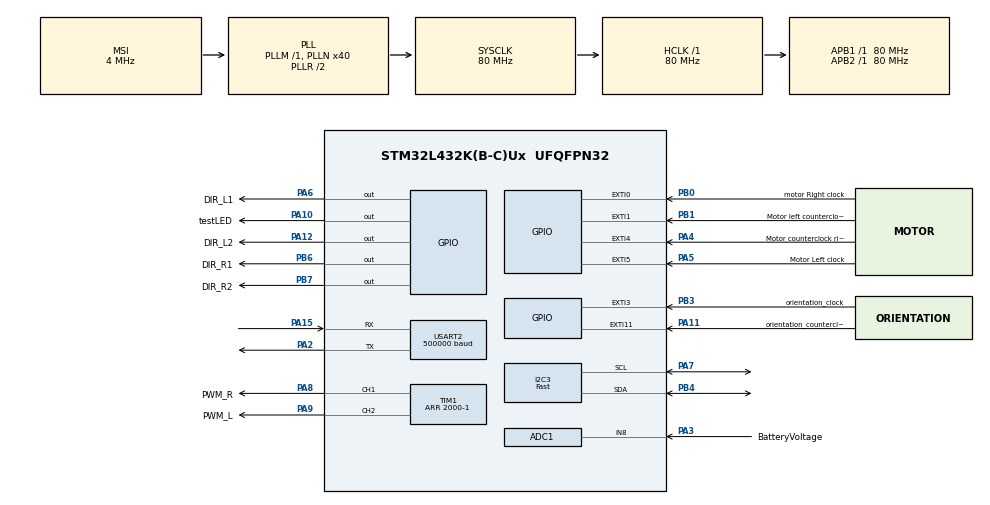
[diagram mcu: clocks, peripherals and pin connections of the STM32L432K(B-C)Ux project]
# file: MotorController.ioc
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ADC1.Channel-0\#ChannelRegularConversion=ADC_CHANNEL_8
ADC1.NbrOfConversionFlag=1
ADC1.OffsetNumber-0\#ChannelRegularConversion=ADC_OFFSET_NONE
ADC1.Rank-0\#ChannelRegularConversion=1
ADC1.SamplingTime-0\#ChannelRegularConversion=ADC_SAMPLETIME_2CYCLES_5
ADC1.master=1
Dma.Request0=USART2_RX
Dma.Request1=USART2_TX
Dma.USART2_RX.0.Direction=DMA_PERIPH_TO_MEMORY
Dma.USART2_RX.0.Instance=DMA1_Channel6
Dma.USART2_RX.0.MemDataAlignment=DMA_MDATAALIGN_BYTE
Dma.USART2_RX.0.MemInc=DMA_MINC_ENABLE
Dma.USART2_RX.0.Mode=DMA_CIRCULAR
Dma.USART2_RX.0.PeriphDataAlignment=DMA_PDATAALIGN_BYTE
Dma.USART2_RX.0.PeriphInc=DMA_PINC_DISABLE
Dma.USART2_RX.0.Priority=DMA_PRIORITY_LOW
Dma.USART2_TX.1.Direction=DMA_MEMORY_TO_PERIPH
Dma.USART2_TX.1.Instance=DMA1_Channel7
Dma.USART2_TX.1.MemDataAlignment=DMA_MDATAALIGN_BYTE
Dma.USART2_TX.1.MemInc=DMA_MINC_ENABLE
Dma.USART2_TX.1.Mode=DMA_NORMAL
Dma.USART2_TX.1.PeriphDataAlignment=DMA_PDATAALIGN_BYTE
Dma.USART2_TX.1.PeriphInc=DMA_PINC_DISABLE
Dma.USART2_TX.1.Priority=DMA_PRIORITY_LOW
I2C3.I2C_Speed_Mode=I2C_Fast
I2C3.Timing=0x00702991
Mcu.Family=STM32L4
Mcu.Name=STM32L432K(B-C)Ux
Mcu.Package=UFQFPN32
NVIC.DMA1_Channel6_IRQn=true\:0\:0\:false\:false\:true\:false\:true
NVIC.DMA1_Channel7_IRQn=true\:0\:0\:false\:false\:true\:false\:true
NVIC.EXTI0_IRQn=true\:0\:0\:true\:false\:true\:true\:true
NVIC.EXTI15_10_IRQn=true\:0\:0\:true\:false\:true\:true\:true
NVIC.EXTI1_IRQn=true\:0\:0\:true\:false\:true\:true\:true
NVIC.EXTI3_IRQn=true\:0\:0\:true\:false\:true\:true\:true
NVIC.EXTI4_IRQn=true\:0\:0\:true\:false\:true\:true\:true
NVIC.EXTI9_5_IRQn=true\:0\:0\:true\:false\:true\:true\:true
NVIC.I2C3_ER_IRQn=true\:0\:0\:false\:false\:true\:true\:true
NVIC.I2C3_EV_IRQn=true\:0\:0\:false\:false\:true\:true\:true
NVIC.PriorityGroup=NVIC_PRIORITYGROUP_4
NVIC.TIM2_IRQn=true\:0\:0\:false\:false\:true\:true\:true
NVIC.TIM6_DAC_IRQn=true\:0\:0\:false\:false\:true\:true\:true
NVIC.TIM7_IRQn=true\:0\:0\:true\:false\:true\:true\:true
NVIC.USART2_IRQn=true\:0\:0\:false\:false\:true\:true\:true
PA0.Mode=HSE-External-Clock-Source-for-LittleOrca
PA0.Signal=RCC_CK_IN
PA10.GPIO_Label=testLED
PA10.Signal=GPIO_Output
PA11.GPIO_Label=orientation_counterclock
PA11.GPIO_ModeDefaultEXTI=GPIO_MODE_IT_RISING_FALLING
PA11.GPIO_PuPd=GPIO_PULLDOWN
PA11.Signal=GPXTI11
PA12.GPIO_Label=DIR_L2
PA12.Signal=GPIO_Output
PA13\ (JTMS-SWDIO).Mode=Serial_Wire
PA13\ (JTMS-SWDIO).Signal=SYS_JTMS-SWDIO
PA14\ (JTCK-SWCLK).Mode=Serial_Wire
PA14\ (JTCK-SWCLK).Signal=SYS_JTCK-SWCLK
PA15\ (JTDI).Mode=Asynchronous
PA15\ (JTDI).Signal=USART2_RX
PA2.Mode=Asynchronous
PA2.Signal=USART2_TX
PA3.GPIO_Label=BatteryVoltage
PA3.Signal=ADCx_IN8
PA4.GPIO_Label=Motor counterclock right
PA4.GPIO_ModeDefaultEXTI=GPIO_MODE_IT_RISING_FALLING
PA4.GPIO_PuPd=GPIO_PULLDOWN
PA4.Signal=GPXTI4
PA5.GPIO_Label=Motor Left clock
PA5.GPIO_ModeDefaultEXTI=GPIO_MODE_IT_RISING_FALLING
PA5.GPIO_PuPd=GPIO_PULLDOWN
PA5.Signal=GPXTI5
PA6.GPIO_Label=DIR_L1
PA6.Signal=GPIO_Output
PA7.Mode=I2C
PA7.Signal=I2C3_SCL
PA8.GPIO_Label=PWM_R
PA8.Signal=S_TIM1_CH1
PA9.GPIO_Label=PWM_L
PA9.Signal=S_TIM1_CH2
PB0.GPIO_Label=motor Right clock
PB0.GPIO_ModeDefaultEXTI=GPIO_MODE_IT_RISING_FALLING
PB0.GPIO_PuPd=GPIO_PULLDOWN
PB0.Signal=GPXTI0
PB1.GPIO_Label=Motor left counterclock
PB1.GPIO_ModeDefaultEXTI=GPIO_MODE_IT_RISING_FALLING
PB1.GPIO_PuPd=GPIO_PULLDOWN
PB1.Signal=GPXTI1
PB3\ (JTDO-TRACESWO).GPIO_Label=orientation_clock
PB3\ (JTDO-TRACESWO).GPIO_ModeDefaultEXTI=GPIO_MODE_IT_RISING_FALLING
PB3\ (JTDO-TRACESWO).GPIO_PuPd=GPIO_PULLDOWN
PB3\ (JTDO-TRACESWO).Signal=GPXTI3
PB4\ (NJTRST).Mode=I2C
PB4\ (NJTRST).Signal=I2C3_SDA
PB6.GPIO_Label=DIR_R1
PB6.Signal=GPIO_Output
PB7.GPIO_Label=DIR_R2
PB7.Signal=GPIO_Output
ProjectManager.HeapSize=0x200
ProjectManager.StackSize=0x400
ProjectManager.TargetToolchain=STM32CubeIDE
RCC.ADCFreq_Value=8000000
RCC.AHBFreq_Value=80000000
RCC.APB1Freq_Value=80000000
RCC.APB1TimFreq_Value=80000000
RCC.APB2Freq_Value=80000000
RCC.APB2TimFreq_Value=80000000
RCC.CortexFreq_Value=80000000
RCC.HCLKFreq_Value=80000000
RCC.HSE_VALUE=8000000
RCC.HSI48_VALUE=48000000
RCC.HSI_VALUE=16000000
RCC.LSE_VALUE=32768
RCC.MSI_VALUE=4000000
RCC.PLLN=40
RCC.PLLSAI1N=16
RCC.PLLSAI1R=RCC_PLLR_DIV8
RCC.SYSCLKFreq_VALUE=80000000
RCC.SYSCLKSource=RCC_SYSCLKSOURCE_PLLCLK
RCC.USBFreq_Value=32000000
RCC.VCOOutputFreq_Value=160000000
SH.ADCx_IN8.0=ADC1_IN8,IN8-Single-Ended
SH.S_TIM1_CH1.0=TIM1_CH1,PWM Generation1 CH1
SH.S_TIM1_CH2.0=TIM1_CH2,PWM Generation2 CH2
TIM1.AutoReloadPreload=TIM_AUTORELOAD_PRELOAD_ENABLE
TIM1.Channel-PWM\ Generation1\ CH1=TIM_CHANNEL_1
TIM1.Channel-PWM\ Generation2\ CH2=TIM_CHANNEL_2
TIM1.Period=2000-1
TIM2.AutoReloadPreload=TIM_AUTORELOAD_PRELOAD_ENABLE
TIM2.Channel-Output\ Compare2\ No\ Output=TIM_CHANNEL_2
TIM2.Period=10000-1
TIM2.Prescaler=80-1
TIM6.AutoReloadPreload=TIM_AUTORELOAD_PRELOAD_ENABLE
TIM6.Period=50000-1
TIM6.Prescaler=160-1
TIM7.AutoReloadPreload=TIM_AUTORELOAD_PRELOAD_ENABLE
TIM7.Period=12207-1
TIM7.Prescaler=65535
USART2.BaudRate=500000
USART2.VirtualMode-Asynchronous=VM_ASYNC
VP_TIM2_VS_no_output2.Mode=Output Compare2 No Output
VP_TIM6_VS_ClockSourceINT.Mode=Enable_Timer
VP_TIM7_VS_ClockSourceINT.Mode=Enable_Timer
board=custom

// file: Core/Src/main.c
/* USER CODE BEGIN Header */
/**
 ******************************************************************************
 * @file           : main.c
 * @brief          : Main program body
 ******************************************************************************
 * @attention
 *
 * <h2><center>&copy; Copyright (c) 2021 STMicroelectronics.
 * All rights reserved.</center></h2>
 *
 * This software component is licensed by ST under BSD 3-Clause license,
 * the "License"; You may not use this file except in compliance with the
 * License. You may obtain a copy of the License at:
 *                        opensource.org/licenses/BSD-3-Clause
 *
 ******************************************************************************
 */
/* USER CODE END Header */
#include "main.h"

/* USER CODE BEGIN Includes */

#include "circle_queue_Vector3.h"

/* USER CODE END Includes */

/* USER CODE BEGIN PD */

#define RIGHT_MOTOR_CHANNEL TIM_CHANNEL_1
#define LEFT_MOTOR_CHANNEL TIM_CHANNEL_2

/* USER CODE END PD */

ADC_HandleTypeDef hadc1;

I2C_HandleTypeDef hi2c3;

TIM_HandleTypeDef htim1;
TIM_HandleTypeDef htim2;
TIM_HandleTypeDef htim6;
TIM_HandleTypeDef htim7;

UART_HandleTypeDef huart2;
DMA_HandleTypeDef hdma_usart2_rx;
DMA_HandleTypeDef hdma_usart2_tx;

/* USER CODE BEGIN PV */
char uart_rxbuffer[UART_IN_BUF_SIZE] = { 0 };
UartCommHandler rxHandler;

char uart_txbuffer[UART_IN_BUF_SIZE] = { 0 };
UartCommHandler txHandler;

float batteryVoltage = 0.0;
float voltageMeasScaling = (3.47 / (4096)) * (1 + 2.63); // Voltage divider ratio - Reference voltage was found experimentally
bool control_cmds_en = false;

float spamCheckY = 0.;
float spamCheckX = 0.;

float spamCheckPhi = 0.0;
char packedMotorData[50] = { 0 };

float posX = 0.0;
float posXPrev = 0.0;
float posY = 0.0;
float posYPrev = 0.0;
float posPhi = 0.0;
float posPhiPrev = 0.0;
float velX = 0.0;
float velY = 0.0;
float velocity = 0.0;
float velPhi = 0.0;
uint8_t position[24] = { 0 };

extern float orientAngle;

uint8_t MOTORID = 2;

float positionCalculationPeriod;
float controllerPeriod;

// IMU variables
Vector3Queue *measQueue;

typedef struct {
	uint32_t time;
	float speed;
	Vector3 entry;
} IMU_MeasEntry;

uint32_t imu_meas_index = 0;
IMU_MeasEntry imu_meas_arr[IMU_MEAS_AMOUNT] = { 0 };

extern void (*accel_capt_callb)(Vector3*), (*gyro_capt_callb)(Vector3*);
void (**imu_capture_callb)(Vector3*);

// Motor structs

Motor motorR;
MotorEncoder encoderR;
MotorController controllerR;

Motor motorL;
MotorEncoder encoderL;
MotorController controllerL;

uint32_t ticks = 0;
uint32_t ticks_ms = 0;
uint32_t laps_c = 0;

/* USER CODE END PV */

void SystemClock_Config(void);
static void MX_GPIO_Init(void);
static void MX_DMA_Init(void);
static void MX_TIM1_Init(void);
static void MX_TIM6_Init(void);
static void MX_USART2_UART_Init(void);
static void MX_ADC1_Init(void);
static void MX_TIM7_Init(void);
static void MX_TIM2_Init(void);
static void MX_I2C3_Init(void);
/* USER CODE BEGIN PFP */

float LP_filter(float x_old2, float x_old1, float x, float y_old3, float y_old2,
		float y_old1);
int8_t samples_equivalence_test(float *a, float *b, uint32_t len,
		float tolerance);
int8_t IMU_LP_Filter_test(double signal_freq, double sample_freq,
		float *comp_seq, Vector3Queue *rawQueue, Vector3Queue *filtQueue);

void packThe6Floats();
void uart_in_handle(char*, uint32_t, uint8_t);
int8_t uart_in_handle_reset(char*, uint32_t);
int8_t uart_in_handle_reference(char*, uint32_t);
int8_t uart_transmit_VectorXY(uint8_t frameid, Vector3 data);
int8_t InitialCalibration();
void MainLoop();
void IMU_StartMeasurements(void (**capture_callb)(Vector3*), bool rotate,
		float movePeriod, float wheelSpeed, uint8_t moveRepetitions);
void MainLoopWaitMicros(uint32_t wait_us);
void MainLoopWaitMillis(uint32_t wait_ms);

/* USER CODE END PFP */

/* USER CODE BEGIN 0 */

int main(void) {

	/* MCU Configuration--------------------------------------------------------*/

	/* Reset of all peripherals, Initializes the Flash interface and the Systick. */
	HAL_Init();

	/* Configure the system clock */
	SystemClock_Config();

	/* Initialize all configured peripherals */
	MX_GPIO_Init();
	MX_DMA_Init();
	MX_TIM1_Init();
	MX_TIM6_Init();
	MX_USART2_UART_Init();
	MX_ADC1_Init();
	MX_TIM7_Init();
	MX_TIM2_Init();
	MX_I2C3_Init();
	/* USER CODE BEGIN 2 */

	positionCalculationPeriod = ((htim6.Instance->ARR + 1)
			/ (80000000.0 / (htim6.Instance->PSC + 1)));
	controllerPeriod = ((htim2.Instance->ARR + 1)
			/ (80000000.0 / (htim2.Instance->PSC + 1)));

	HAL_ADCEx_Calibration_Start(&hadc1, ADC_SINGLE_ENDED);

	uart_init();
	IMU_init();

	reset_odometry();

	if (!micros_init(&htim2, HAL_RCC_GetPCLK1Freq()))
		Error_Handler();

	HAL_TIM_Base_Start_IT(&htim2);
	HAL_TIM_Base_Start_IT(&htim6);
	HAL_TIM_Base_Start_IT(&htim7);
	HAL_TIM_PWM_Start(&htim1, TIM_CHANNEL_1);
	HAL_TIM_PWM_Start(&htim1, TIM_CHANNEL_2);

	/* USER CODE END 2 */

	/* Infinite loop */
	/* USER CODE BEGIN WHILE */

	InitialCalibration();

	while (1) {
		MainLoop();

		/* USER CODE END WHILE */

	}
}

void SystemClock_Config(void) {
	RCC_OscInitTypeDef RCC_OscInitStruct = { 0 };
	RCC_ClkInitTypeDef RCC_ClkInitStruct = { 0 };

	/** Configure the main internal regulator output voltage
	 */
	if (HAL_PWREx_ControlVoltageScaling(PWR_REGULATOR_VOLTAGE_SCALE1)
			!= HAL_OK) {
		Error_Handler();
	}
	/** Initializes the RCC Oscillators according to the specified parameters
	 * in the RCC_OscInitTypeDef structure.
	 */
	RCC_OscInitStruct.OscillatorType = RCC_OSCILLATORTYPE_MSI;
	RCC_OscInitStruct.MSIState = RCC_MSI_ON;
	RCC_OscInitStruct.MSICalibrationValue = 0;
	RCC_OscInitStruct.MSIClockRange = RCC_MSIRANGE_6;
	RCC_OscInitStruct.PLL.PLLState = RCC_PLL_ON;
	RCC_OscInitStruct.PLL.PLLSource = RCC_PLLSOURCE_MSI;
	RCC_OscInitStruct.PLL.PLLM = 1;
	RCC_OscInitStruct.PLL.PLLN = 40;
	RCC_OscInitStruct.PLL.PLLP = RCC_PLLP_DIV7;
	RCC_OscInitStruct.PLL.PLLQ = RCC_PLLQ_DIV2;
	RCC_OscInitStruct.PLL.PLLR = RCC_PLLR_DIV2;
	if (HAL_RCC_OscConfig(&RCC_OscInitStruct) != HAL_OK) {
		Error_Handler();
	}
	/** Initializes the CPU, AHB and APB buses clocks
	 */
	RCC_ClkInitStruct.ClockType = RCC_CLOCKTYPE_HCLK | RCC_CLOCKTYPE_SYSCLK
			| RCC_CLOCKTYPE_PCLK1 | RCC_CLOCKTYPE_PCLK2;
	RCC_ClkInitStruct.SYSCLKSource = RCC_SYSCLKSOURCE_PLLCLK;
	RCC_ClkInitStruct.AHBCLKDivider = RCC_SYSCLK_DIV1;
	RCC_ClkInitStruct.APB1CLKDivider = RCC_HCLK_DIV1;
	RCC_ClkInitStruct.APB2CLKDivider = RCC_HCLK_DIV1;

	if (HAL_RCC_ClockConfig(&RCC_ClkInitStruct, FLASH_LATENCY_4) != HAL_OK) {
		Error_Handler();
	}
}

static void MX_ADC1_Init(void) {

	ADC_ChannelConfTypeDef sConfig = { 0 };

	/** Common config
	 */
	hadc1.Instance = ADC1;
	hadc1.Init.ClockPrescaler = ADC_CLOCK_ASYNC_DIV1;
	hadc1.Init.Resolution = ADC_RESOLUTION_12B;
	hadc1.Init.DataAlign = ADC_DATAALIGN_RIGHT;
	hadc1.Init.ScanConvMode = ADC_SCAN_DISABLE;
	hadc1.Init.EOCSelection = ADC_EOC_SINGLE_CONV;
	hadc1.Init.LowPowerAutoWait = DISABLE;
	hadc1.Init.ContinuousConvMode = DISABLE;
	hadc1.Init.NbrOfConversion = 1;
	hadc1.Init.DiscontinuousConvMode = DISABLE;
	hadc1.Init.ExternalTrigConv = ADC_SOFTWARE_START;
	hadc1.Init.ExternalTrigConvEdge = ADC_EXTERNALTRIGCONVEDGE_NONE;
	hadc1.Init.DMAContinuousRequests = DISABLE;
	hadc1.Init.Overrun = ADC_OVR_DATA_PRESERVED;
	hadc1.Init.OversamplingMode = DISABLE;
	if (HAL_ADC_Init(&hadc1) != HAL_OK) {
		Error_Handler();
	}
	/** Configure Regular Channel
	 */
	sConfig.Channel = ADC_CHANNEL_8;
	sConfig.Rank = ADC_REGULAR_RANK_1;
	sConfig.SamplingTime = ADC_SAMPLETIME_2CYCLES_5;
	sConfig.SingleDiff = ADC_SINGLE_ENDED;
	sConfig.OffsetNumber = ADC_OFFSET_NONE;
	sConfig.Offset = 0;
	if (HAL_ADC_ConfigChannel(&hadc1, &sConfig) != HAL_OK) {
		Error_Handler();
	}
	/* USER CODE BEGIN ADC1_Init 2 */
	__HAL_RCC_ADC_CLK_ENABLE();
	/* USER CODE END ADC1_Init 2 */

}

static void MX_I2C3_Init(void) {

	hi2c3.Instance = I2C3;
	hi2c3.Init.Timing = 0x00702991;
	hi2c3.Init.OwnAddress1 = 0;
	hi2c3.Init.AddressingMode = I2C_ADDRESSINGMODE_7BIT;
	hi2c3.Init.DualAddressMode = I2C_DUALADDRESS_DISABLE;
	hi2c3.Init.OwnAddress2 = 0;
	hi2c3.Init.OwnAddress2Masks = I2C_OA2_NOMASK;
	hi2c3.Init.GeneralCallMode = I2C_GENERALCALL_DISABLE;
	hi2c3.Init.NoStretchMode = I2C_NOSTRETCH_DISABLE;
	if (HAL_I2C_Init(&hi2c3) != HAL_OK) {
		Error_Handler();
	}
	/** Configure Analogue filter
	 */
	if (HAL_I2CEx_ConfigAnalogFilter(&hi2c3, I2C_ANALOGFILTER_ENABLE)
			!= HAL_OK) {
		Error_Handler();
	}
	/** Configure Digital filter
	 */
	if (HAL_I2CEx_ConfigDigitalFilter(&hi2c3, 0) != HAL_OK) {
		Error_Handler();
	}

}

static void MX_TIM1_Init(void) {

	TIM_MasterConfigTypeDef sMasterConfig = { 0 };
	TIM_OC_InitTypeDef sConfigOC = { 0 };
	TIM_BreakDeadTimeConfigTypeDef sBreakDeadTimeConfig = { 0 };

	htim1.Instance = TIM1;
	htim1.Init.Prescaler = 0;
	htim1.Init.CounterMode = TIM_COUNTERMODE_UP;
	htim1.Init.Period = 2000 - 1;
	htim1.Init.ClockDivision = TIM_CLOCKDIVISION_DIV1;
	htim1.Init.RepetitionCounter = 0;
	htim1.Init.AutoReloadPreload = TIM_AUTORELOAD_PRELOAD_ENABLE;
	if (HAL_TIM_PWM_Init(&htim1) != HAL_OK) {
		Error_Handler();
	}
	sMasterConfig.MasterOutputTrigger = TIM_TRGO_RESET;
	sMasterConfig.MasterOutputTrigger2 = TIM_TRGO2_RESET;
	sMasterConfig.MasterSlaveMode = TIM_MASTERSLAVEMODE_DISABLE;
	if (HAL_TIMEx_MasterConfigSynchronization(&htim1, &sMasterConfig)
			!= HAL_OK) {
		Error_Handler();
	}
	sConfigOC.OCMode = TIM_OCMODE_PWM1;
	sConfigOC.Pulse = 0;
	sConfigOC.OCPolarity = TIM_OCPOLARITY_HIGH;
	sConfigOC.OCNPolarity = TIM_OCNPOLARITY_HIGH;
	sConfigOC.OCFastMode = TIM_OCFAST_DISABLE;
	sConfigOC.OCIdleState = TIM_OCIDLESTATE_RESET;
	sConfigOC.OCNIdleState = TIM_OCNIDLESTATE_RESET;
	if (HAL_TIM_PWM_ConfigChannel(&htim1, &sConfigOC, TIM_CHANNEL_1)
			!= HAL_OK) {
		Error_Handler();
	}
	if (HAL_TIM_PWM_ConfigChannel(&htim1, &sConfigOC, TIM_CHANNEL_2)
			!= HAL_OK) {
		Error_Handler();
	}
	sBreakDeadTimeConfig.OffStateRunMode = TIM_OSSR_DISABLE;
	sBreakDeadTimeConfig.OffStateIDLEMode = TIM_OSSI_DISABLE;
	sBreakDeadTimeConfig.LockLevel = TIM_LOCKLEVEL_OFF;
	sBreakDeadTimeConfig.DeadTime = 0;
	sBreakDeadTimeConfig.BreakState = TIM_BREAK_DISABLE;
	sBreakDeadTimeConfig.BreakPolarity = TIM_BREAKPOLARITY_HIGH;
	sBreakDeadTimeConfig.BreakFilter = 0;
	sBreakDeadTimeConfig.Break2State = TIM_BREAK2_DISABLE;
	sBreakDeadTimeConfig.Break2Polarity = TIM_BREAK2POLARITY_HIGH;
	sBreakDeadTimeConfig.Break2Filter = 0;
	sBreakDeadTimeConfig.AutomaticOutput = TIM_AUTOMATICOUTPUT_DISABLE;
	if (HAL_TIMEx_ConfigBreakDeadTime(&htim1, &sBreakDeadTimeConfig)
			!= HAL_OK) {
		Error_Handler();
	}
	HAL_TIM_MspPostInit(&htim1);

}

static void MX_TIM2_Init(void) {

	TIM_MasterConfigTypeDef sMasterConfig = { 0 };
	TIM_OC_InitTypeDef sConfigOC = { 0 };

	htim2.Instance = TIM2;
	htim2.Init.Prescaler = 80 - 1;
	htim2.Init.CounterMode = TIM_COUNTERMODE_UP;
	htim2.Init.Period = 10000 - 1;
	htim2.Init.ClockDivision = TIM_CLOCKDIVISION_DIV1;
	htim2.Init.AutoReloadPreload = TIM_AUTORELOAD_PRELOAD_ENABLE;
	if (HAL_TIM_OC_Init(&htim2) != HAL_OK) {
		Error_Handler();
	}
	sMasterConfig.MasterOutputTrigger = TIM_TRGO_RESET;
	sMasterConfig.MasterSlaveMode = TIM_MASTERSLAVEMODE_DISABLE;
	if (HAL_TIMEx_MasterConfigSynchronization(&htim2, &sMasterConfig)
			!= HAL_OK) {
		Error_Handler();
	}
	sConfigOC.OCMode = TIM_OCMODE_TIMING;
	sConfigOC.Pulse = 0;
	sConfigOC.OCPolarity = TIM_OCPOLARITY_HIGH;
	sConfigOC.OCFastMode = TIM_OCFAST_DISABLE;
	if (HAL_TIM_OC_ConfigChannel(&htim2, &sConfigOC, TIM_CHANNEL_2) != HAL_OK) {
		Error_Handler();
	}

}

static void MX_TIM6_Init(void) {

	TIM_MasterConfigTypeDef sMasterConfig = { 0 };

	htim6.Instance = TIM6;
	htim6.Init.Prescaler = 160 - 1;
	htim6.Init.CounterMode = TIM_COUNTERMODE_UP;
	htim6.Init.Period = 50000 - 1;
	htim6.Init.AutoReloadPreload = TIM_AUTORELOAD_PRELOAD_ENABLE;
	if (HAL_TIM_Base_Init(&htim6) != HAL_OK) {
		Error_Handler();
	}
	sMasterConfig.MasterOutputTrigger = TIM_TRGO_RESET;
	sMasterConfig.MasterSlaveMode = TIM_MASTERSLAVEMODE_DISABLE;
	if (HAL_TIMEx_MasterConfigSynchronization(&htim6, &sMasterConfig)
			!= HAL_OK) {
		Error_Handler();
	}

}

static void MX_TIM7_Init(void) {

	TIM_MasterConfigTypeDef sMasterConfig = { 0 };

	htim7.Instance = TIM7;
	htim7.Init.Prescaler = 65535;
	htim7.Init.CounterMode = TIM_COUNTERMODE_UP;
	htim7.Init.Period = 12207 - 1;
	htim7.Init.AutoReloadPreload = TIM_AUTORELOAD_PRELOAD_ENABLE;
	if (HAL_TIM_Base_Init(&htim7) != HAL_OK) {
		Error_Handler();
	}
	sMasterConfig.MasterOutputTrigger = TIM_TRGO_RESET;
	sMasterConfig.MasterSlaveMode = TIM_MASTERSLAVEMODE_DISABLE;
	if (HAL_TIMEx_MasterConfigSynchronization(&htim7, &sMasterConfig)
			!= HAL_OK) {
		Error_Handler();
	}

}

static void MX_USART2_UART_Init(void) {

	huart2.Instance = USART2;
	huart2.Init.BaudRate = 500000;
	huart2.Init.WordLength = UART_WORDLENGTH_8B;
	huart2.Init.StopBits = UART_STOPBITS_1;
	huart2.Init.Parity = UART_PARITY_NONE;
	huart2.Init.Mode = UART_MODE_TX_RX;
	huart2.Init.HwFlowCtl = UART_HWCONTROL_NONE;
	huart2.Init.OverSampling = UART_OVERSAMPLING_16;
	huart2.Init.OneBitSampling = UART_ONE_BIT_SAMPLE_DISABLE;
	huart2.AdvancedInit.AdvFeatureInit = UART_ADVFEATURE_NO_INIT;
	if (HAL_UART_Init(&huart2) != HAL_OK) {
		Error_Handler();
	}

}

static void MX_DMA_Init(void) {

	/* DMA controller clock enable */
	__HAL_RCC_DMA1_CLK_ENABLE();

	/* DMA interrupt init */
	/* DMA1_Channel6_IRQn interrupt configuration */
	HAL_NVIC_SetPriority(DMA1_Channel6_IRQn, 0, 0);
	HAL_NVIC_EnableIRQ(DMA1_Channel6_IRQn);
	/* DMA1_Channel7_IRQn interrupt configuration */
	HAL_NVIC_SetPriority(DMA1_Channel7_IRQn, 0, 0);
	HAL_NVIC_EnableIRQ(DMA1_Channel7_IRQn);

}

static void MX_GPIO_Init(void) {
	GPIO_InitTypeDef GPIO_InitStruct = { 0 };

	/* GPIO Ports Clock Enable */
	__HAL_RCC_GPIOA_CLK_ENABLE();
	__HAL_RCC_GPIOB_CLK_ENABLE();

	/*Configure GPIO pin Output Level */
	HAL_GPIO_WritePin(GPIOA, DIR_L1_Pin | testLED_Pin | DIR_L2_Pin,
			GPIO_PIN_RESET);

	/*Configure GPIO pin Output Level */
	HAL_GPIO_WritePin(GPIOB, DIR_R1_Pin | DIR_R2_Pin, GPIO_PIN_RESET);

	/*Configure GPIO pins : Motor_counterclock_right_Pin Motor_Left_clock_Pin orientation_counterclock_Pin */
	GPIO_InitStruct.Pin = Motor_counterclock_right_Pin | Motor_Left_clock_Pin
			| orientation_counterclock_Pin;
	GPIO_InitStruct.Mode = GPIO_MODE_IT_RISING_FALLING;
	GPIO_InitStruct.Pull = GPIO_PULLDOWN;
	HAL_GPIO_Init(GPIOA, &GPIO_InitStruct);

	/*Configure GPIO pins : DIR_L1_Pin testLED_Pin DIR_L2_Pin */
	GPIO_InitStruct.Pin = DIR_L1_Pin | testLED_Pin | DIR_L2_Pin;
	GPIO_InitStruct.Mode = GPIO_MODE_OUTPUT_PP;
	GPIO_InitStruct.Pull = GPIO_NOPULL;
	GPIO_InitStruct.Speed = GPIO_SPEED_FREQ_LOW;
	HAL_GPIO_Init(GPIOA, &GPIO_InitStruct);

	/*Configure GPIO pins : motor_Right_clock_Pin Motor_left_counterclock_Pin orientation_clock_Pin */
	GPIO_InitStruct.Pin = motor_Right_clock_Pin | Motor_left_counterclock_Pin
			| orientation_clock_Pin;
	GPIO_InitStruct.Mode = GPIO_MODE_IT_RISING_FALLING;
	GPIO_InitStruct.Pull = GPIO_PULLDOWN;
	HAL_GPIO_Init(GPIOB, &GPIO_InitStruct);

	/*Configure GPIO pins : DIR_R1_Pin DIR_R2_Pin */
	GPIO_InitStruct.Pin = DIR_R1_Pin | DIR_R2_Pin;
	GPIO_InitStruct.Mode = GPIO_MODE_OUTPUT_PP;
	GPIO_InitStruct.Pull = GPIO_NOPULL;
	GPIO_InitStruct.Speed = GPIO_SPEED_FREQ_LOW;
	HAL_GPIO_Init(GPIOB, &GPIO_InitStruct);

	/* EXTI interrupt init*/
	HAL_NVIC_SetPriority(EXTI0_IRQn, 0, 0);
	HAL_NVIC_EnableIRQ(EXTI0_IRQn);

	HAL_NVIC_SetPriority(EXTI1_IRQn, 0, 0);
	HAL_NVIC_EnableIRQ(EXTI1_IRQn);

	HAL_NVIC_SetPriority(EXTI3_IRQn, 0, 0);
	HAL_NVIC_EnableIRQ(EXTI3_IRQn);

	HAL_NVIC_SetPriority(EXTI4_IRQn, 0, 0);
	HAL_NVIC_EnableIRQ(EXTI4_IRQn);

	HAL_NVIC_SetPriority(EXTI9_5_IRQn, 0, 0);
	HAL_NVIC_EnableIRQ(EXTI9_5_IRQn);

	HAL_NVIC_SetPriority(EXTI15_10_IRQn, 0, 0);
	HAL_NVIC_EnableIRQ(EXTI15_10_IRQn);

}

/* USER CODE BEGIN 4 */

void reset_odometry() {
	// Motor Initialization
	motor_init(&motorR, 'R');
	motor_init(&motorL, 'L');

	motorEncoder_init(&encoderR);
	motorEncoder_init(&encoderL);

	motorController_init(&controllerR, &motorR, &encoderR);
	motorController_init(&controllerL, &motorL, &encoderL);

	orientation_reset();
}

void motor_init(Motor *m, char name) {
	m->name = name;
	m->direction = 0;
	m->dutyCycle = 0.0;
}

void motorEncoder_init(MotorEncoder *e) {
	e->fineAdjustment = 0;
	e->lastAngle = 0.0;
	e->lastTicks = 0;
	e->output = 0.0;
	e->revolutions = 0;
}

void motorController_init(MotorController *c, Motor *m, MotorEncoder *e) {
	c->Encoder = e;
	c->lastError = 0.0;
	c->motor = m;
	c->reference = 0.0;
	c->controlVoltage = 0.0;
	c->measAngVel = 0.0;
}

void uart_init() {

	// Initialize RX
	rxHandler.direction = DIRECTION_RX;
	rxHandler.huart = &huart2;
	rxHandler.rxHandleFunc = &uart_in_handle;
	rxHandler.buffer = uart_rxbuffer;
	rxHandler.bufferSize = sizeof(uart_rxbuffer);
	rxHandler.frameid_enabled = false;

	if (!uart_init_rx(&rxHandler))
		Error_Handler();

	// Initialize TX
	txHandler.direction = DIRECTION_TX;
	txHandler.huart = &huart2;
	txHandler.buffer = uart_txbuffer;
	txHandler.bufferSize = sizeof(uart_txbuffer);
	txHandler.frameid_enabled = true;

	if (!uart_init_tx(&txHandler))
		Error_Handler();
}

void uart_in_handle(char *uart_msg, uint32_t len, uint8_t id) {

	if (uart_in_handle_reset(uart_msg, len))
		return;
	if (control_cmds_en) {
		if (uart_in_handle_reference(uart_msg, len))
			return;
	}

}

int8_t uart_in_handle_reset(char *uart_msg, uint32_t len) {
	if (strcmp(uart_msg, "reset") == 0) {

		reset_odometry();
		sendPositionAndVelocity();

		return 1;
	}
	return 0;
}
int8_t uart_in_handle_reference(char *uart_msg, uint32_t len) {

	// Check length of msg
	if (len != 10)
		return 0;

	// Retrieve reference for right wheel
	if (uart_msg[0] == 'R') {
		memcpy(&controllerR.reference, uart_msg + 1, 4);

	} else
		return 0;

	// Retrieve reference for left wheel
	if (uart_msg[5] == 'L') {
		memcpy(&controllerL.reference, uart_msg + 6, 4);
	} else
		return 0;

	return 1;
}

int8_t uart_transmit_VectorXY(uint8_t frameid, Vector3 data) {
	char msg[8] = { 0 };

	memcpy(msg, &(data.x), sizeof(float));
	memcpy(msg + sizeof(float), &(data.y), sizeof(float));

	return uart_transmit(&txHandler, msg, sizeof(msg), frameid);
}

float calcDistance(MotorController *c) {
	float deltaTicks = c->Encoder->output * TOTAL_WHEEL_TICKS
			- c->Encoder->lastTicks;
	return M_PI * WHEELDIA * (deltaTicks / TOTAL_WHEEL_TICKS);
}

void calcPositionAndVelocity() {
	float distR = calcDistance(&controllerR);
	float distL = calcDistance(&controllerL);
	controllerR.Encoder->lastTicks = controllerR.Encoder->output
			* TOTAL_WHEEL_TICKS;
	controllerL.Encoder->lastTicks = controllerL.Encoder->output
			* TOTAL_WHEEL_TICKS;
	float deltaDistance = (distL + distR) / 2;
	posX = posX + deltaDistance * cos(posPhi);
	posY = posY + deltaDistance * sin(posPhi);
	posPhi = posPhi + (distR - distL) / DISBETWHEEL;

	velPhi = ((posPhi - posPhiPrev)) / positionCalculationPeriod;
	velX = (posX - posXPrev) / positionCalculationPeriod;
	velY = (posY - posYPrev) / positionCalculationPeriod;
	velocity = deltaDistance / positionCalculationPeriod;

	posPhiPrev = posPhi;
	posXPrev = posX;
	posYPrev = posY;
}

void updatePositionsAndVelocities() {

	// Position and velocity data from wheel encoders
	calcPositionAndVelocity();

	if (spamCheckX != posX || spamCheckY != posY || spamCheckPhi != posPhi) {
		spamCheckX = posX;
		spamCheckY = posY;
		spamCheckPhi = posPhi;
		sendPositionAndVelocity();
	}

	// Encoder data from top plate
	calcOrientOutput();
	sendOrientData();

	IMU_TransmitData(&txHandler);
}

void packThe6Floats() {

	uint8_t *pointer = &posX;
	for (int i = 0; i < 4; i++) {
		position[i] = *(pointer + i);
	}

	pointer = &posY;
	for (int k = 4; k < 8; k++) {
		position[k] = *(pointer + k - 4);
	}
	pointer = &posPhi;
	for (int j = 8; j < 12; j++) {
		position[j] = *(pointer + j - 8);
	}
	pointer = &velX; //&controllerL.Encoder->output;
	for (int m = 12; m < 16; m++) {
		position[m] = *(pointer + m - 12);
	}
	pointer = &velY; //&controllerR.Encoder->output;
	for (int n = 16; n < 20; n++) {
		position[n] = *(pointer + n - 16);
	}
	pointer = &velPhi;
	for (int o = 20; o < 24; o++) {
		position[o] = *(pointer + o - 20);
	}
}

void sendPositionAndVelocity() {
	packThe6Floats();
	uart_transmit(&txHandler, position, sizeof(position), UART_ID_MOTOR);
	memset(position, 0, sizeof(position));
}

void resetEncoder(MotorController *c) {
	c->Encoder->output = 0.0;
	c->Encoder->fineAdjustment = 0;
	c->Encoder->revolutions = 0;
}

void clockcheckRight() {
	if (HAL_GPIO_ReadPin(motor_Right_clock_GPIO_Port, motor_Right_clock_Pin)
			== HAL_GPIO_ReadPin(Motor_counterclock_right_GPIO_Port,
			Motor_counterclock_right_Pin)) {
		controllerR.motor->direction = -1;
		controllerR.Encoder->fineAdjustment = abs(
				(controllerR.Encoder->fineAdjustment
						+ controllerR.motor->direction) % TOTAL_WHEEL_TICKS);
	} else {
		controllerR.motor->direction = 1;
		controllerR.Encoder->fineAdjustment = abs(
				(controllerR.Encoder->fineAdjustment
						+ controllerR.motor->direction)
						% (TOTAL_WHEEL_TICKS + 1));
	}

	checkRevolutions(&controllerR);
}

void counterclockcheckRight() {
	if (HAL_GPIO_ReadPin(motor_Right_clock_GPIO_Port, motor_Right_clock_Pin)
			== HAL_GPIO_ReadPin(Motor_counterclock_right_GPIO_Port,
			Motor_counterclock_right_Pin)) {
		controllerR.motor->direction = 1;
		controllerR.Encoder->fineAdjustment = abs(
				(controllerR.Encoder->fineAdjustment
						+ controllerR.motor->direction)
						% (TOTAL_WHEEL_TICKS + 1));
	} else {
		controllerR.motor->direction = -1;
		controllerR.Encoder->fineAdjustment = abs(
				(controllerR.Encoder->fineAdjustment
						+ controllerR.motor->direction) % TOTAL_WHEEL_TICKS);
	}

	checkRevolutions(&controllerR);
}

void clockcheckLeft() {
	if (HAL_GPIO_ReadPin(Motor_Left_clock_GPIO_Port, Motor_Left_clock_Pin)
			== HAL_GPIO_ReadPin(Motor_left_counterclock_GPIO_Port,
			Motor_left_counterclock_Pin)) {
		controllerL.motor->direction = -1;
		controllerL.Encoder->fineAdjustment = abs(
				(controllerL.Encoder->fineAdjustment
						+ controllerL.motor->direction) % TOTAL_WHEEL_TICKS);
	} else {
		controllerL.motor->direction = 1;
		controllerL.Encoder->fineAdjustment = abs(
				(controllerL.Encoder->fineAdjustment
						+ controllerL.motor->direction)
						% (TOTAL_WHEEL_TICKS + 1));
	}

	checkRevolutions(&controllerL);
}

void counterclockcheckLeft() {
	if (HAL_GPIO_ReadPin(Motor_Left_clock_GPIO_Port, Motor_Left_clock_Pin)
			== HAL_GPIO_ReadPin(Motor_left_counterclock_GPIO_Port,
			Motor_left_counterclock_Pin)) {
		controllerL.motor->direction = 1;
		controllerL.Encoder->fineAdjustment = abs(
				(controllerL.Encoder->fineAdjustment
						+ controllerL.motor->direction)
						% (TOTAL_WHEEL_TICKS + 1));
	} else {
		controllerL.motor->direction = -1;
		controllerL.Encoder->fineAdjustment = abs(
				(controllerL.Encoder->fineAdjustment
						+ controllerL.motor->direction) % TOTAL_WHEEL_TICKS);
	}

	checkRevolutions(&controllerL);
}

void checkRevolutions(MotorController *c) {
	if (c->Encoder->fineAdjustment == 0 && c->motor->direction == 1) {
		c->Encoder->revolutions = c->Encoder->revolutions + c->motor->direction;
		c->Encoder->fineAdjustment = 1;
	} else if (c->Encoder->fineAdjustment == 0 && c->motor->direction == -1) {
		c->Encoder->revolutions = c->Encoder->revolutions + c->motor->direction;
		c->Encoder->fineAdjustment = TOTAL_WHEEL_TICKS;
	}

	/*if (wheel = 'L') {
	 if (fineadjustmentLeft == 0 && directionLeft == 1) {
	 revolutionLeft = revolutionLeft + directionLeft;
	 fineadjustmentLeft = 1;
	 } else if (fineadjustmentLeft == 0 && directionLeft == -1) {
	 revolutionLeft = revolutionLeft + directionLeft;
	 fineadjustmentLeft = TOTAL_WHEEL_TICKS;
	 }
	 }
	 if (wheel = 'R')
	 if (fineadjustmentRight == 0 && directionRight == 1) {
	 revolutionRight = revolutionRight + directionRight;
	 fineadjustmentRight = 1;
	 } else if (fineadjustmentRight == 0 && directionRight == -1) {
	 revolutionRight = revolutionRight + directionRight;
	 fineadjustmentRight = TOTAL_WHEEL_TICKS;
	 }*/
}

void calcOutput(MotorEncoder *e) {
	e->output = e->revolutions
			+ ((float) e->fineAdjustment / TOTAL_WHEEL_TICKS);
}

void calculateError(MotorController *c) {
	c->lastError = c->reference - c->measAngVel;
}

void nextVoltage_newImp(MotorController *c) {
	// *********************************************************************
	// ********* THIS CONTROLLER IMPLEMENTAITON IS NOT FULLY WORKING *******
	// *********************************************************************
	// Kill motors if we want to stop and are practically already stopped
	if (c->reference == 0.0 && abs(c->measAngVel < MOTOR_VELOCITY_DEADZONE))
		c->controlVoltage = 0.0;
	else
		// Normal controller operation
		c->controlVoltage = c->lastError * 2.82 * controllerPeriod
				+ c->controlVoltage;

	if (c->controlVoltage > MOTOR_VOLTAGE_MAX - MOTOR_VOLTAGE_OFFSET) {
		c->controlVoltage = MOTOR_VOLTAGE_MAX - MOTOR_VOLTAGE_OFFSET;
	} else if (c->controlVoltage < -MOTOR_VOLTAGE_MAX + MOTOR_VOLTAGE_OFFSET) {
		c->controlVoltage = -MOTOR_VOLTAGE_MAX + MOTOR_VOLTAGE_OFFSET;
	}

	/* Change direction only if we both want to actually
	 * change direction (reference), and output voltage is at the offset edge
	 * (controlVoltage ~= 0 ==> driveVoltage = MOTOR_VOLTAGE_OFFSET).
	 * This enables the controlVoltage to swing around 0V,
	 * without the MOTOR_VOLTAGE_OFFSET frantically changing polarity.
	 */
	if (/*c->reference > 0 &&*/c->controlVoltage >= 0) {
		c->motor->direction = 1;
	} else if (/*c->reference < 0 &&*/c->controlVoltage <= 0) {
		c->motor->direction = -1;
	}

	if (c->controlVoltage != 0.0)
		c->driveVoltage = MOTOR_VOLTAGE_OFFSET * c->motor->direction
				+ c->controlVoltage;
	else
		c->driveVoltage = 0.0;
	// *********************************************************************
}

void nextVoltage(MotorController *c) {

	// Old implementation
	c->driveVoltage = c->lastError * 2.82 * controllerPeriod + c->driveVoltage;
	if (c->driveVoltage > MOTOR_VOLTAGE_MAX) {
		c->driveVoltage = MOTOR_VOLTAGE_MAX;
	} else if (c->driveVoltage < -MOTOR_VOLTAGE_MAX) {
		c->driveVoltage = -MOTOR_VOLTAGE_MAX;
	}
}

void updateAngularVelocity(MotorController *c) {
	float deltaAngle = c->Encoder->output * 2 * M_PI - c->Encoder->lastAngle;
	c->Encoder->lastAngle = c->Encoder->output * 2 * M_PI;
	c->measAngVel = deltaAngle / controllerPeriod;

	float angVelPos = c->measAngVel;
	if (angVelPos < 0)
		angVelPos = -angVelPos;
	if (angVelPos < MOTOR_ANGULAR_VELOCITY_MIN) {
		c->measAngVel = 0;
	}
}

void updateDutyCycle_newImp(MotorController *c) {
	// *********************************************************************
	// ********* THIS CONTROLLER IMPLEMENTAITON IS NOT FULLY WORKING *******
	// *********************************************************************
	if (c->driveVoltage == 0.0) {
		c->motor->dutyCycle = 0;
		return;
	}
	// *********************************************************************

	float pwm = c->driveVoltage / batteryVoltage;

	if (pwm < 0)
		pwm = -pwm;
	if (pwm > 1.0)
		pwm = 1.0;
	c->motor->dutyCycle = pwm;
}

void updateDutyCycle(MotorController *c) {

	// *** Old controller implementation
	if (c->driveVoltage > 0) {
		c->motor->direction = 1;
	} else if (c->driveVoltage < 0) {
		c->motor->direction = -1;
	} else {
		c->motor->dutyCycle = 0;
		return;
	}
	// ***

	float pwm = c->driveVoltage / batteryVoltage;

	if (pwm < 0)
		pwm = -pwm;
	if (pwm > 1.0)
		pwm = 1.0;
	c->motor->dutyCycle = pwm;
}

void setDutyCycle_newImp(MotorController *c) {
	if (c->motor->name == 'R') {
		htim1.Instance->CCR1 = (uint32_t) ((htim1.Instance->ARR)
				* c->motor->dutyCycle);

		if (c->motor->direction == 1) {
			HAL_GPIO_WritePin(DIR_R1_GPIO_Port, DIR_R1_Pin, 1);
			HAL_GPIO_WritePin(DIR_R2_GPIO_Port, DIR_R2_Pin, 0);
		} else if (c->motor->direction == -1) {
			HAL_GPIO_WritePin(DIR_R1_GPIO_Port, DIR_R1_Pin, 0);
			HAL_GPIO_WritePin(DIR_R2_GPIO_Port, DIR_R2_Pin, 1);
		} else {
			// MOTOR STOP
			HAL_GPIO_WritePin(DIR_R1_GPIO_Port, DIR_R1_Pin, 0);
			HAL_GPIO_WritePin(DIR_R2_GPIO_Port, DIR_R2_Pin, 0);
		}
	} else if (c->motor->name == 'L') {
		htim1.Instance->CCR2 = (uint32_t) ((htim1.Instance->ARR)
				* c->motor->dutyCycle);

		if (c->motor->direction == 1) {
			HAL_GPIO_WritePin(DIR_L1_GPIO_Port, DIR_L1_Pin, 1);
			HAL_GPIO_WritePin(DIR_L2_GPIO_Port, DIR_L2_Pin, 0);
		} else if (c->motor->direction == -1) {
			HAL_GPIO_WritePin(DIR_L1_GPIO_Port, DIR_L1_Pin, 0);
			HAL_GPIO_WritePin(DIR_L2_GPIO_Port, DIR_L2_Pin, 1);
		} else {
			// MOTOR STOP
			HAL_GPIO_WritePin(DIR_R1_GPIO_Port, DIR_R1_Pin, 0);
			HAL_GPIO_WritePin(DIR_R2_GPIO_Port, DIR_R2_Pin, 0);
		}
	} else {
		return;
	}
}

void setDutyCycle(MotorController *c) {
	if (c->motor->name == 'R') {
		htim1.Instance->CCR1 = (uint32_t) ((htim1.Instance->ARR)
				* c->motor->dutyCycle);

		if (c->motor->direction == 1) {
			HAL_GPIO_WritePin(DIR_R1_GPIO_Port, DIR_R1_Pin, 1);
			HAL_GPIO_WritePin(DIR_R2_GPIO_Port, DIR_R2_Pin, 0);
		} else if (c->motor->direction == -1) {
			HAL_GPIO_WritePin(DIR_R1_GPIO_Port, DIR_R1_Pin, 0);
			HAL_GPIO_WritePin(DIR_R2_GPIO_Port, DIR_R2_Pin, 1);
		} else {
			// MOTOR STOP
			//HAL_GPIO_WritePin(DIR_R1_GPIO_Port, DIR_R1_Pin, 0);
			//HAL_GPIO_WritePin(DIR_R2_GPIO_Port, DIR_R2_Pin, 0);
		}
	} else if (c->motor->name == 'L') {
		htim1.Instance->CCR2 = (uint32_t) ((htim1.Instance->ARR)
				* c->motor->dutyCycle);

		if (c->motor->direction == 1) {
			HAL_GPIO_WritePin(DIR_L1_GPIO_Port, DIR_L1_Pin, 1);
			HAL_GPIO_WritePin(DIR_L2_GPIO_Port, DIR_L2_Pin, 0);
		} else if (c->motor->direction == -1) {
			HAL_GPIO_WritePin(DIR_L1_GPIO_Port, DIR_L1_Pin, 0);
			HAL_GPIO_WritePin(DIR_L2_GPIO_Port, DIR_L2_Pin, 1);
		} else {
			// MOTOR STOP
			//HAL_GPIO_WritePin(DIR_R1_GPIO_Port, DIR_R1_Pin, 0);
			//HAL_GPIO_WritePin(DIR_R2_GPIO_Port, DIR_R2_Pin, 0);
		}
	} else {
		return;
	}
}

void controller(MotorController *c) {
	calcOutput(c->Encoder);

	// Measure the angular velocity (feedback)
	updateAngularVelocity(c);

	// Calculate next controlVoltage according to the controller design
	//nextVoltage_newImp(c);
	nextVoltage(c);

	// Calculate current error to use for next iteration
	calculateError(c);

	// Update the duty cycle
	//updateDutyCycle_newImp(c);
	updateDutyCycle(c);

	//setDutyCycle_newImp(c);
	setDutyCycle(c);
}

void controlBothMotors() {
	uint32_t micros_start = micros();
	uart_rxhandle(&rxHandler);
	controller(&controllerR);
	controller(&controllerL);
	uint32_t micros_end = micros();
	uint32_t deltaT = micros_end - micros_start;
}

void UpdateBatteryVoltage() {
	HAL_ADC_Start(&hadc1); // Start ADC conversion
	HAL_ADC_PollForConversion(&hadc1, HAL_MAX_DELAY); // Wait for conversion to complete
	uint32_t adc_val = HAL_ADC_GetValue(&hadc1); // Get the ADC value
	batteryVoltage = adc_val * voltageMeasScaling;
}

void HAL_I2C_MasterTxCpltCallback(I2C_HandleTypeDef *hi2c) {
	IMU_TransmitComplete();

}

void HAL_I2C_MasterRxCpltCallback(I2C_HandleTypeDef *hi2c) {
	IMU_ReceiveComplete();
}

void Callback_1Hz() {

}

void Callback_1kHz() {
	// Set the IMU read pointer to the sensor data registers
	IMU_RequestData();
}

void MainLoop() {
	// Retrieve data if an IMU data request has just been issued
	IMU_RetrieveData();
	// Handle and process data if data retrieval has been requested and we have just received data
	IMU_HandleReceivedData();
}

void MainLoopWaitMicros(uint32_t wait_us) {
	uint32_t startTime = micros();

	while (micros() < startTime + wait_us) {
		MainLoop();
	}
}

void MainLoopWaitMillis(uint32_t wait_ms) {
	uint32_t startTime = HAL_GetTick();

	while (HAL_GetTick() < startTime + wait_ms) {
		MainLoop();
	}
}

void StopMovement() {
	controllerL.reference = 0.0;
	controllerR.reference = 0.0;

	while (controllerL.measAngVel != 0.0 || controllerR.measAngVel != 0.0) {
		MainLoop();
	}
}

int8_t InitialCalibration() {
	control_cmds_en = false;

	uint32_t start_time = HAL_GetTick();

	// Wait till while the gyro settles
	while (HAL_GetTick() < start_time + IMU_CALIBRATION_TIME_MS) {
		MainLoop();
	}

	IMU_CalculateOffsets();

	control_cmds_en = true;
}

void IMU_Measurements_CaptureEntry(Vector3 *entry) {
	IMU_MeasEntry m = { .time = micros(), .entry = *entry, .speed = (
			imu_capture_callb == &gyro_capt_callb ? velPhi : velocity) };

	if (imu_meas_index < IMU_MEAS_AMOUNT)
		imu_meas_arr[imu_meas_index] = m;

	if (++imu_meas_index == IMU_MEAS_AMOUNT) {
		// Measurements done
		*imu_capture_callb = NULL;
		imu_capture_callb = NULL;
	}
}

void IMU_StartMeasurements(void (**capture_callb)(Vector3*), bool rotate,
		float movePeriod, float wheelSpeed, uint8_t moveRepetitions) {

	// Reset data array
	imu_meas_index = 0;
	memset(imu_meas_arr, 0, IMU_MEAS_AMOUNT * sizeof(IMU_MeasEntry));

	imu_capture_callb = capture_callb;

	// Disable external motor control
	control_cmds_en = false;

	StopMovement();

	// Start capturing data
	*imu_capture_callb = &IMU_Measurements_CaptureEntry;

	// Wait a moment
	MainLoopWaitMillis(IMU_MEAS_WAIT_TIME);

	// Do some erratic movement
	float sign = 1.0;
	uint32_t period_us = (uint32_t) ((movePeriod / 2.0) * 1000000);
	uint32_t endTime = micros();
	for (uint8_t i = 0; i < moveRepetitions; i++) {
		controllerL.reference = wheelSpeed * sign;
		controllerR.reference = wheelSpeed * sign * (rotate ? -1.0 : 1.0);

		endTime += period_us;
		while (micros() < endTime) {
			MainLoop();
		}

		sign = -sign;
	}

	StopMovement();

	// Enable external motor control
	control_cmds_en = true;
}

/* USER CODE END 4 */

void Error_Handler(void) {
	__disable_irq();
	while (1) {
	}
}
